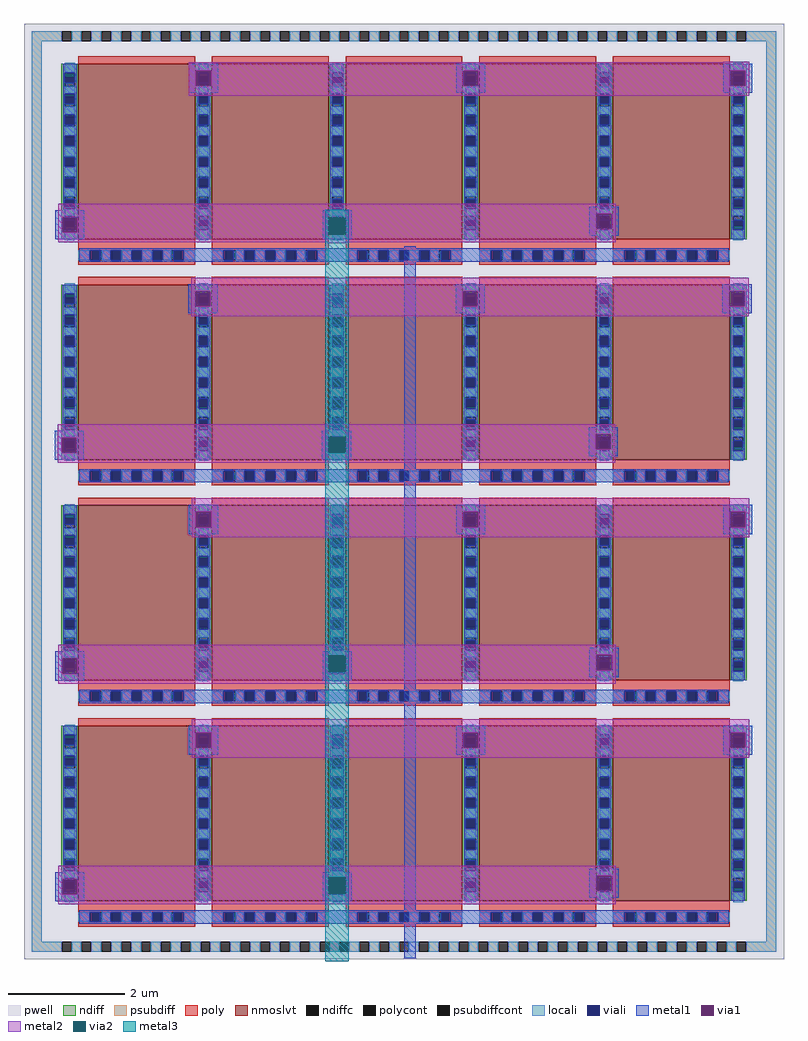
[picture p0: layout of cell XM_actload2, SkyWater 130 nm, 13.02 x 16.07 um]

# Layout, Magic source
magic
tech sky130A
magscale 1 2
<< metal1 >>
rect 522 3002 622 3026
rect 522 2950 546 3002
rect 598 2950 622 3002
rect 522 2926 622 2950
rect 1438 3002 1538 3026
rect 1438 2950 1462 3002
rect 1514 2950 1538 3002
rect 1438 2926 1538 2950
rect 2352 3002 2452 3026
rect 2352 2950 2376 3002
rect 2428 2950 2452 3002
rect 2352 2926 2452 2950
rect 1465 2916 1471 2926
rect 1505 2916 1511 2926
rect 2379 2916 2385 2926
rect 2419 2916 2425 2926
rect 1921 2536 1927 2546
rect 1961 2536 1967 2546
rect 1007 2524 1013 2534
rect 1047 2524 1053 2534
rect 64 2500 164 2524
rect 64 2448 88 2500
rect 140 2448 164 2500
rect 64 2424 164 2448
rect 980 2500 1080 2524
rect 980 2448 1004 2500
rect 1056 2448 1080 2500
rect 980 2424 1080 2448
rect 1894 2512 1994 2536
rect 1894 2460 1918 2512
rect 1970 2460 1994 2512
rect 1894 2436 1994 2460
rect 527 2347 617 2393
rect 985 2347 1075 2393
rect 89 2257 135 2269
rect 89 1768 95 2257
rect 129 1768 135 2257
rect 520 2246 620 2270
rect 520 2194 544 2246
rect 596 2194 620 2246
rect 520 2170 620 2194
rect 1005 2257 1051 2269
rect 62 1744 162 1768
rect 62 1692 86 1744
rect 138 1692 162 1744
rect 62 1668 162 1692
rect 547 1681 553 2170
rect 587 1681 593 2170
rect 1005 1768 1011 2257
rect 1045 1768 1051 2257
rect 547 1669 593 1681
rect 978 1744 1078 1768
rect 978 1692 1002 1744
rect 1054 1692 1078 1744
rect 978 1668 1078 1692
rect 527 1591 617 1637
rect 985 1591 1075 1637
rect 91 1501 137 1513
rect 91 1012 97 1501
rect 131 1012 137 1501
rect 522 1490 622 1514
rect 522 1438 546 1490
rect 598 1438 622 1490
rect 522 1414 622 1438
rect 1007 1501 1053 1513
rect 64 988 164 1012
rect 64 936 88 988
rect 140 936 164 988
rect 64 912 164 936
rect 549 925 555 1414
rect 589 925 595 1414
rect 1007 1012 1013 1501
rect 1047 1012 1053 1501
rect 549 913 595 925
rect 980 988 1080 1012
rect 980 936 1004 988
rect 1056 936 1080 988
rect 980 912 1080 936
rect 527 835 617 881
rect 985 835 1075 881
rect 91 745 137 757
rect 91 256 97 745
rect 131 256 137 745
rect 522 734 622 758
rect 522 682 546 734
rect 598 682 622 734
rect 522 658 622 682
rect 1007 745 1053 757
rect 64 232 164 256
rect 64 180 88 232
rect 140 180 164 232
rect 64 156 164 180
rect 549 169 555 658
rect 589 169 595 658
rect 1007 256 1013 745
rect 1047 256 1053 745
rect 549 157 595 169
rect 980 232 1080 256
rect 980 180 1004 232
rect 1056 180 1080 232
rect 980 156 1080 180
rect 527 79 617 125
rect 985 79 1075 125
rect 1260 -40 1300 2400
rect 1443 2347 1533 2393
rect 1901 2347 1991 2393
rect 1436 2246 1536 2270
rect 1436 2194 1460 2246
rect 1512 2194 1536 2246
rect 1436 2170 1536 2194
rect 1921 2257 1967 2269
rect 1463 1681 1469 2170
rect 1503 1681 1509 2170
rect 1921 1790 1927 2257
rect 1961 1790 1967 2257
rect 2350 2246 2450 2270
rect 2350 2194 2374 2246
rect 2426 2194 2450 2246
rect 2350 2170 2450 2194
rect 2377 2160 2385 2170
rect 2417 2160 2425 2170
rect 1919 1780 1927 1790
rect 1959 1780 1967 1790
rect 1463 1669 1509 1681
rect 1892 1756 1992 1780
rect 1892 1704 1916 1756
rect 1968 1704 1992 1756
rect 1892 1680 1992 1704
rect 2379 1681 2385 2160
rect 2419 1681 2425 2160
rect 1921 1669 1967 1680
rect 2379 1669 2425 1681
rect 1443 1591 1533 1637
rect 1901 1591 1991 1637
rect 1438 1490 1538 1514
rect 1438 1438 1462 1490
rect 1514 1438 1538 1490
rect 1438 1414 1538 1438
rect 1923 1501 1969 1513
rect 1465 925 1471 1414
rect 1505 925 1511 1414
rect 1923 1034 1929 1501
rect 1963 1034 1969 1501
rect 2352 1490 2452 1514
rect 2352 1438 2376 1490
rect 2428 1438 2452 1490
rect 2352 1414 2452 1438
rect 2379 1404 2387 1414
rect 2419 1404 2427 1414
rect 1921 1024 1929 1034
rect 1961 1024 1969 1034
rect 1465 913 1511 925
rect 1894 1000 1994 1024
rect 1894 948 1918 1000
rect 1970 948 1994 1000
rect 1894 924 1994 948
rect 2381 925 2387 1404
rect 2421 925 2427 1404
rect 1923 913 1969 924
rect 2381 913 2427 925
rect 1443 835 1533 881
rect 1901 835 1991 881
rect 1438 734 1538 758
rect 1438 682 1462 734
rect 1514 682 1538 734
rect 1438 658 1538 682
rect 1923 745 1969 757
rect 1465 169 1471 658
rect 1505 169 1511 658
rect 1923 278 1929 745
rect 1963 278 1969 745
rect 2352 734 2452 758
rect 2352 682 2376 734
rect 2428 682 2452 734
rect 2352 658 2452 682
rect 2379 648 2387 658
rect 2419 648 2427 658
rect 1921 268 1929 278
rect 1961 268 1969 278
rect 1465 157 1511 169
rect 1894 244 1994 268
rect 1894 192 1918 244
rect 1970 192 1994 244
rect 1894 168 1994 192
rect 2381 169 2387 648
rect 2421 169 2427 648
rect 1923 157 1969 168
rect 2381 157 2427 169
rect 1443 79 1533 125
rect 1901 79 1991 125
<< via1 >>
rect 546 2950 598 3002
rect 1462 2950 1514 3002
rect 2376 2950 2428 3002
rect 88 2448 140 2500
rect 1004 2448 1056 2500
rect 1918 2460 1970 2512
rect 544 2194 596 2246
rect 86 1692 138 1744
rect 1002 1692 1054 1744
rect 546 1438 598 1490
rect 88 936 140 988
rect 1004 936 1056 988
rect 546 682 598 734
rect 88 180 140 232
rect 1004 180 1056 232
rect 1460 2194 1512 2246
rect 2374 2194 2426 2246
rect 1916 1704 1968 1756
rect 1462 1438 1514 1490
rect 2376 1438 2428 1490
rect 1918 948 1970 1000
rect 1462 682 1514 734
rect 2376 682 2428 734
rect 1918 192 1970 244
<< metal2 >>
rect 2352 3030 2442 3032
rect 522 3002 2442 3030
rect 522 2950 546 3002
rect 598 2950 1462 3002
rect 1514 2950 2376 3002
rect 2428 2950 2442 3002
rect 522 2916 2442 2950
rect 74 2512 1984 2546
rect 74 2500 1918 2512
rect 74 2448 88 2500
rect 140 2498 1004 2500
rect 1056 2498 1918 2500
rect 140 2448 1002 2498
rect 1058 2460 1918 2498
rect 1970 2460 1984 2512
rect 74 2442 1002 2448
rect 1058 2442 1984 2460
rect 74 2414 1984 2442
rect 1000 2410 1060 2414
rect 530 2246 2440 2292
rect 530 2194 544 2246
rect 596 2194 1460 2246
rect 1512 2194 2374 2246
rect 2426 2194 2440 2246
rect 530 2160 2440 2194
rect 72 1756 1982 1790
rect 72 1748 1916 1756
rect 72 1744 1002 1748
rect 72 1692 86 1744
rect 138 1692 1002 1744
rect 1058 1704 1916 1748
rect 1968 1704 1982 1756
rect 1058 1692 1982 1704
rect 72 1658 1982 1692
rect 532 1490 2442 1536
rect 532 1438 546 1490
rect 598 1438 1462 1490
rect 1514 1438 2376 1490
rect 2428 1438 2442 1490
rect 532 1404 2442 1438
rect 74 1000 1984 1034
rect 74 998 1918 1000
rect 74 988 1002 998
rect 74 936 88 988
rect 140 942 1002 988
rect 1058 948 1918 998
rect 1970 948 1984 1000
rect 1058 942 1984 948
rect 140 936 1004 942
rect 1056 936 1984 942
rect 74 902 1984 936
rect 532 734 2442 780
rect 532 682 546 734
rect 598 682 1462 734
rect 1514 682 2376 734
rect 2428 682 2442 734
rect 532 648 2442 682
rect 74 244 1984 278
rect 74 238 1918 244
rect 74 232 1002 238
rect 74 180 88 232
rect 140 182 1002 232
rect 1058 192 1918 238
rect 1970 192 1984 244
rect 1058 182 1984 192
rect 140 180 1004 182
rect 1056 180 1984 182
rect 74 146 1984 180
<< via2 >>
rect 1002 2448 1004 2498
rect 1004 2448 1056 2498
rect 1056 2448 1058 2498
rect 1002 2442 1058 2448
rect 1002 1744 1058 1748
rect 1002 1692 1054 1744
rect 1054 1692 1058 1744
rect 1002 988 1058 998
rect 1002 942 1004 988
rect 1004 942 1056 988
rect 1056 942 1058 988
rect 1002 232 1058 238
rect 1002 182 1004 232
rect 1004 182 1056 232
rect 1056 182 1058 232
<< metal3 >>
rect 990 2498 1070 2525
rect 990 2442 1002 2498
rect 1058 2442 1070 2498
rect 990 1748 1070 2442
rect 990 1692 1002 1748
rect 1058 1692 1070 1748
rect 990 998 1070 1692
rect 990 942 1002 998
rect 1058 942 1070 998
rect 990 238 1070 942
rect 990 182 1002 238
rect 1058 182 1070 238
rect 990 -50 1070 182
use sky130_fd_pr__nfet_01v8_lvt_USQY94  sky130_fd_pr__nfet_01v8_lvt_USQY94_0
transform 1 0 1259 0 1 1560
box -1302 -1603 1302 1603
<< end >>

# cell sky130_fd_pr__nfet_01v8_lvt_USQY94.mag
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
